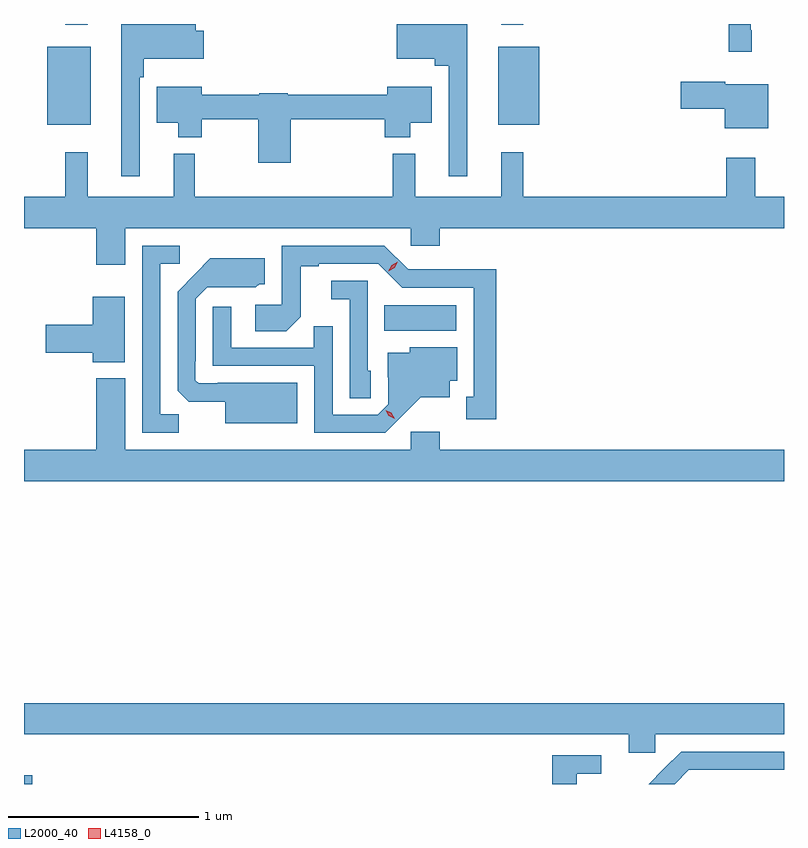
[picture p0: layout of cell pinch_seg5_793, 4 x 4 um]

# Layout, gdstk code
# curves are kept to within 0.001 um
import gdstk
lib = gdstk.Library(unit=1e-6, precision=1e-09)
def R(c, l, rs):  # rectangles x0, y0, x1, y1
    for r in rs: c.add(gdstk.rectangle(r[:2], r[2:], *l))
def P(c, l, *ps):  # polygons
    for p in ps: c.add(gdstk.Polygon(p, *l))
L2000_40 = (2000, 40)
L4158_0 = (4158, 0)

pinch_seg5_793 = lib.new_cell('pinch_seg5_793')
R(pinch_seg5_793, L2000_40, [(758.405,909.778,758.449,909.824), (760.3,912.164,760.681,912.298), (758.528,913.247,758.755,913.657), (760.901,913.247,761.116,913.657), (758.623,913.773,758.74,913.778), (760.916,913.773,761.033,913.778)])
P(pinch_seg5_793, L2000_40, [(760.738,913.778),(760.368,913.778),(760.368,913.595),(760.568,913.595),(760.568,913.559),(760.641,913.559),(760.641,912.978),(760.738,912.978)],
  [(759.015,913.499),(759.035,913.499),(759.035,913.595),(759.352,913.595),(759.352,913.743),(759.308,913.743),(759.308,913.778),(758.918,913.778),(758.918,912.978),(759.015,912.978)],
  [(762.236,913.744),(762.231,913.744),(762.231,913.778),(762.115,913.778),(762.115,913.632),(762.236,913.632)],
  [(762.322,913.462),(762.096,913.462),(762.096,913.475),(761.862,913.475),(761.862,913.333),(762.092,913.333),(762.092,913.229),(762.322,913.229)],
  [(759.809,913.278),(760.304,913.278),(760.304,913.181),(760.438,913.181),(760.438,913.259),(760.552,913.259),(760.552,913.447),(760.316,913.447),(760.316,913.406),(759.792,913.406),(759.792,913.414),(759.642,913.414),(759.642,913.406),(759.34,913.406),(759.34,913.447),(759.104,913.447),(759.104,913.259),(759.218,913.259),(759.218,913.181),(759.34,913.181),(759.34,913.278),(759.638,913.278),(759.638,913.047),(759.809,913.047)],
  [(758.938,912.704),(760.44,912.704),(760.44,912.611),(760.592,912.611),(760.592,912.704),(762.405,912.704),(762.405,912.868),(762.253,912.868),(762.253,913.075),(762.101,913.075),(762.101,912.868),(761.033,912.868),(761.033,913.102),(760.916,913.102),(760.916,912.868),(760.463,912.868),(760.463,913.096),(760.345,913.096),(760.345,912.868),(759.304,912.868),(759.304,913.096),(759.194,913.096),(759.194,912.868),(758.741,912.868),(758.741,913.102),(758.623,913.102),(758.623,912.868),(758.405,912.868),(758.405,912.704),(758.786,912.704),(758.786,912.51),(758.938,912.51)],
  [(760.891,912.488),(760.65,912.488),(760.65,912.486),(760.428,912.486),(760.302,912.612),(759.762,912.612),(759.762,912.3),(759.621,912.3),(759.621,912.16),(759.785,912.16),(759.861,912.236),(759.861,912.504),(759.955,912.504),(759.955,912.516),(760.269,912.516),(760.395,912.39),(760.772,912.39),(760.772,911.817),(760.733,911.817),(760.733,911.697),(760.891,911.697)],
  [(759.219,911.723),(759.123,911.723),(759.123,912.516),(759.226,912.516),(759.226,912.612),(759.027,912.612),(759.027,911.628),(759.219,911.628)],
  [(759.844,911.89),(759.424,911.89),(759.424,911.886),(759.324,911.886),(759.306,911.904),(759.306,912.004),(759.309,912.004),(759.309,912.333),(759.369,912.393),(759.626,912.392),(759.642,912.408),(759.673,912.408),(759.673,912.544),(759.385,912.544),(759.213,912.37),(759.213,911.848),(759.272,911.789),(759.464,911.789),(759.464,911.678),(759.844,911.678)],
  [(760.23,911.952),(760.215,911.952),(760.215,912.426),(760.023,912.426),(760.023,912.329),(760.119,912.329),(760.119,911.809),(760.23,911.809)],
  [(758.935,912.343),(758.768,912.343),(758.768,912.194),(758.52,912.194),(758.52,912.047),(758.768,912.047),(758.768,911.999),(758.935,911.999)],
  [(760.39,911.711),(760.493,911.813),(760.645,911.813),(760.645,911.9),(760.684,911.9),(760.684,912.076),(760.434,912.076),(760.434,912.049),(760.319,912.049),(760.319,911.92),(760.323,911.92),(760.323,911.778),(760.266,911.721),(760.029,911.721),(760.029,912.188),(759.931,912.188),(759.931,912.075),(759.495,912.075),(759.495,912.289),(759.399,912.289),(759.399,911.979),(759.933,911.979),(759.933,911.628),(760.306,911.628)],
  [(762.405,911.536),(760.592,911.536),(760.592,911.632),(760.44,911.632),(760.44,911.536),(758.938,911.536),(758.938,911.914),(758.786,911.914),(758.786,911.536),(758.405,911.536),(758.405,911.372),(762.405,911.372)],
  [(761.727,910.04),(762.405,910.04),(762.405,910.204),(758.405,910.204),(758.405,910.04),(761.588,910.04),(761.588,909.942),(761.727,909.942)],
  [(761.904,909.852),(762.405,909.852),(762.405,909.948),(761.864,909.948),(761.773,909.857),(761.772,909.858),(761.692,909.778),(761.83,909.778)],
  [(761.314,909.833),(761.443,909.833),(761.443,909.93),(761.185,909.93),(761.185,909.778),(761.314,909.778)])
P(pinch_seg5_793, L4158_0, [(760.323,912.476),(760.323,912.476),(760.34,912.508),(760.372,912.528),(760.372,912.528),(760.372,912.527),(760.355,912.495),(760.323,912.476)],
  [(760.355,911.701),(760.325,911.716),(760.308,911.746),(760.308,911.746),(760.308,911.746),(760.338,911.731),(760.356,911.701),(760.356,911.701)])

lib.write_gds('pinch_seg5_793.gds')
